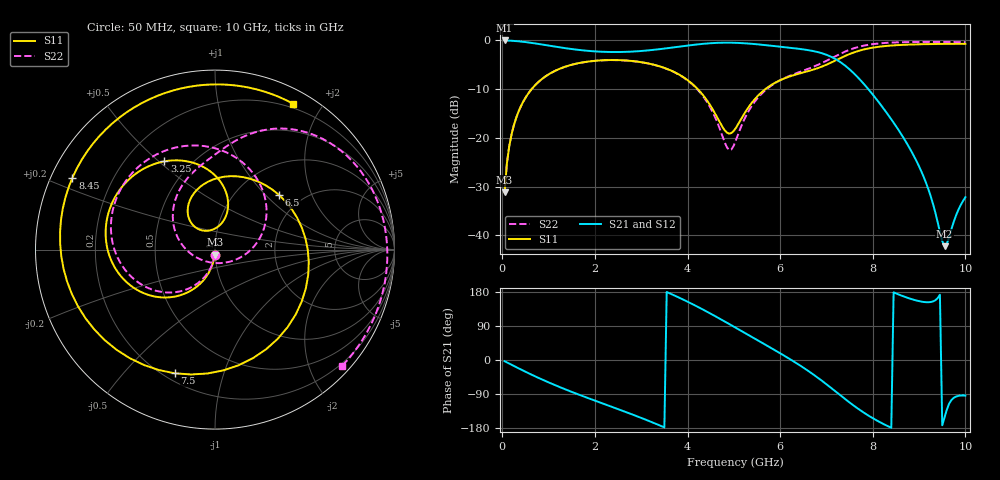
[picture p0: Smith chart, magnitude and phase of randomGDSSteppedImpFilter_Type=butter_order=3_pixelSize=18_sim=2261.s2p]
! freq	dB(S11)	phase(S11)	dB(S12)	phase(S12)
!  dB(S21)	phase(S21)	dB(S22)	phase(S22)
!S-par simulation data
#  GHz  S  DB  R 50
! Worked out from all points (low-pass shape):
!   200 points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, 50 MHz to 10 GHz, reference 50 ohm
!   highest |S21| = -0.01 dB at 50 MHz (marker M1); lowest = -42.2 dB at 9.55 GHz (marker M2)
!   |S21| within 3 dB of the highest: start of sweep to 7.015 GHz
!   lowest |S11| = -31.2 dB at 50 MHz (marker M3), VSWR 1.06, Z = 49.8 - j2.75 ohm
!   |S11| at or under -10 dB: start of sweep to 633.4 MHz; 4.221 GHz to 5.68 GHz (1.459 GHz wide, 29.5 % of centre)
!   |S22| runs from -31.2 to -0.3 dB; largest |S21 - S12| = 0
!   S11 on the Smith chart (normalised r, x): 50 MHz: 1.00, -0.06; 3.25 GHz: 0.36, +0.52; 6.5 GHz: 1.54, +1.20; 7.5 GHz: 0.24, -0.70; 8.45 GHz: 0.06, +0.24; 10 GHz: 0.15, +1.66
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0.05  -31.16 -93.1  -0.01 -3.2  -0.01 -3.2  -31.16 -93.5
0.2  -19.28 -102.3  -0.07 -12.6  -0.07 -12.6  -19.25 -103.8
0.5  -11.78 -119.5  -0.34 -31.0  -0.34 -31.0  -11.78 -123.5
1.05  -6.68 -148.2  -1.13 -61.7  -1.13 -61.7  -6.69 -156.4
1.75  -4.49 -179.4  -2.05 -95.9  -2.05 -95.9  -4.50 166.6
2.6  -4.08 146.5  -2.37 -134.2  -2.37 -134.2  -4.09 124.5
3.25  -4.94 119.8  -1.95 -165.0  -1.95 -165.0  -4.95 90.3
3.4  -5.32 113.3  -1.79 -172.7  -1.79 -172.7  -5.35 81.7
4.2  -9.79 79.0  -0.83 141.6  -0.83 141.6  -9.92 28.2
4.85  -18.93 94.8  -0.46 98.4  -0.46 98.4  -21.94 -70.6
5.05  -17.86 123.5  -0.50 84.5  -0.50 84.5  -20.33 -144.4
5.8  -9.19 107.1  -1.08 32.0  -1.08 32.0  -9.33 131.7
6.5  -6.58 40.6  -1.84 -20.1  -1.84 -20.1  -6.20 96.8
6.7  -6.04 14.3  -2.16 -36.8  -2.16 -36.8  -5.48 89.6
7.05  -4.77 -38.9  -3.14 -68.8  -3.14 -68.8  -3.93 77.2
7.5  -2.80 -108.1  -5.94 -112.2  -5.94 -112.2  -1.91 56.4
7.9  -1.66 -157.5  -9.95 -146.2  -9.95 -146.2  -0.90 35.6
8.35  -1.09 161.0  -15.51 -176.0  -15.51 -176.0  -0.47 14.4
8.45  -1.02 153.2  -16.87 178.4  -16.87 178.4  -0.43 10.1
9.1  -0.77 110.6  -28.02 153.1  -28.02 153.1  -0.32 -14.6
9.55  -0.71 85.6  -42.21 -151.6  -42.21 -151.6  -0.32 -29.3
10  -0.71 61.8  -32.17 -93.8  -32.17 -93.8  -0.35 -42.7
